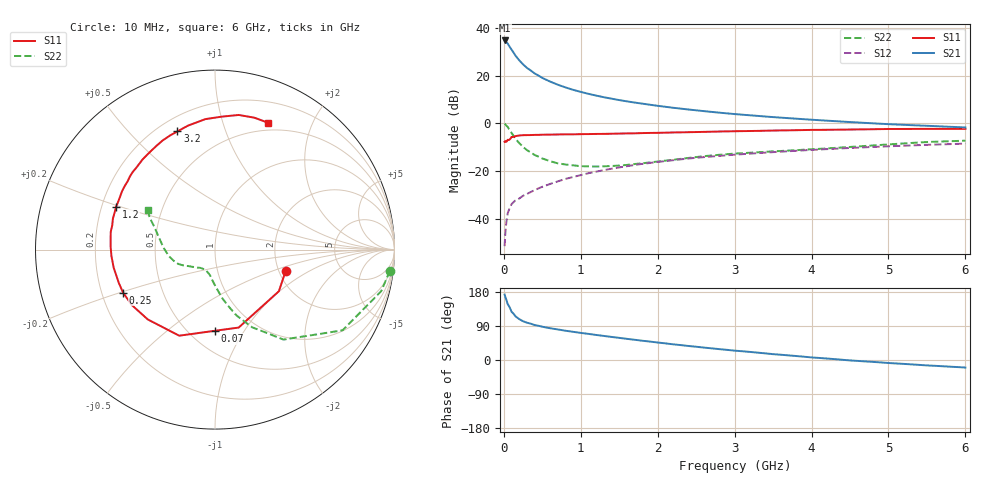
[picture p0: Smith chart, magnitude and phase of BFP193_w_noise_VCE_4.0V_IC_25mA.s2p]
! Infineon Technologies  Discrete & RF Semiconductors
! BFP193
! VCE =  4.0 V,  IC =  25 mA
! Common Emitter S-Parameters:  Jan 2017
# GHz  S  MA  R  50
!  f  S11  S21  S12  S22
! GHz  MAG  ANG  MAG  ANG  MAG  ANG  MAG  ANG
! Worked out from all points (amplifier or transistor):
!   77 points, 10 MHz to 6 GHz, reference 50 ohm
!   highest |S21| = 34.7 dB at 10 MHz (marker M1)
!   |S21| within 3 dB of that: start of sweep to 82.76 MHz
!   unconditionally stable (mu >= 1): 814.2 MHz to 2.499 GHz
!   at 130 MHz: K = 0.44, MSG = 31.1 dB, |S12| = -32.8 dB
!   at 2.2 GHz: K = 1.01, MAG = 10.3 dB, |S12| = -15.4 dB
!   at 6 GHz: K = 0.92, MSG = 3.4 dB, |S12| = -8.5 dB
!   lowest NFmin = 1.12 dB at 450 MHz
!   S11 on the Smith chart (normalised r, x): 10 MHz: 2.17, -0.63; 70 MHz: 0.66, -0.75; 250 MHz: 0.29, -0.20; 1.2 GHz: 0.26, +0.19; 3.2 GHz: 0.28, +0.70; 6 GHz: 0.41, +1.41
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0.01  0.4113 -17.0  54.09 172.7  0.0027 90.6  0.9815 -6.9
0.02  0.4248 -33.1  53.45 166.0  0.0052 80.9  0.9544 -14.1
0.05  0.4539 -73.1  46.63 147.7  0.0131 66.5  0.8412 -32.3
0.07  0.4524 -90.1  41.32 141.0  0.016 62.4  0.7462 -39.1
0.1  0.5195 -112.6  34.79 127.4  0.0204 58.5  0.6303 -52.7
0.15  0.5401 -133.9  26.25 115.5  0.0244 53.2  0.4802 -64.4
0.2  0.557 -146.3  20.81 107.9  0.0268 52.7  0.386 -71.9
0.25  0.5655 -154.9  17.09 102.3  0.0306 53.0  0.3216 -76.9
0.3  0.5673 -161.0  14.45 98.4  0.0333 54.5  0.2757 -81.3
0.4  0.5733 -169.8  11.07 92.3  0.0401 57.7  0.2182 -87.3
0.5  0.5781 -176.4  8.912 87.8  0.0471 59.3  0.1842 -92.5
0.7  0.5846 174.4  6.433 80.7  0.061 62.6  0.1459 -100.8
0.9  0.5884 166.6  5.021 74.4  0.0754 62.2  0.1325 -108.2
1.1  0.5962 159.8  4.14 68.9  0.0905 62.0  0.1259 -115.2
1.2  0.6003 156.6  3.802 66.1  0.0976 61.2  0.1248 -118.5
1.6  0.6153 144.8  2.882 55.8  0.127 58.2  0.135 -131.5
2.1  0.6379 131.3  2.219 43.9  0.1625 53.0  0.1659 -145.6
3.1  0.6871 109.4  1.517 23.1  0.2267 41.3  0.2379 -164.8
3.2  0.6911 107.6  1.473 21.3  0.2324 40.2  0.2429 -166.7
4.1  0.7307 92.7  1.163 5.4  0.2834 30.0  0.2928 175.6
5.1  0.7619 78.7  0.946 -9.1  0.3356 18.7  0.3711 158.0
6  0.7659 67.5  0.82 -19.9  0.377 8.7  0.434 149.2
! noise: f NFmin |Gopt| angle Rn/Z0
0.45  1.12  0.3  -176  0.36
0.9  1.19  0.37  -175  0.07
1.9  1.81  0.57  -138  0.16
2.4  2.15  0.62  -122  0.35
